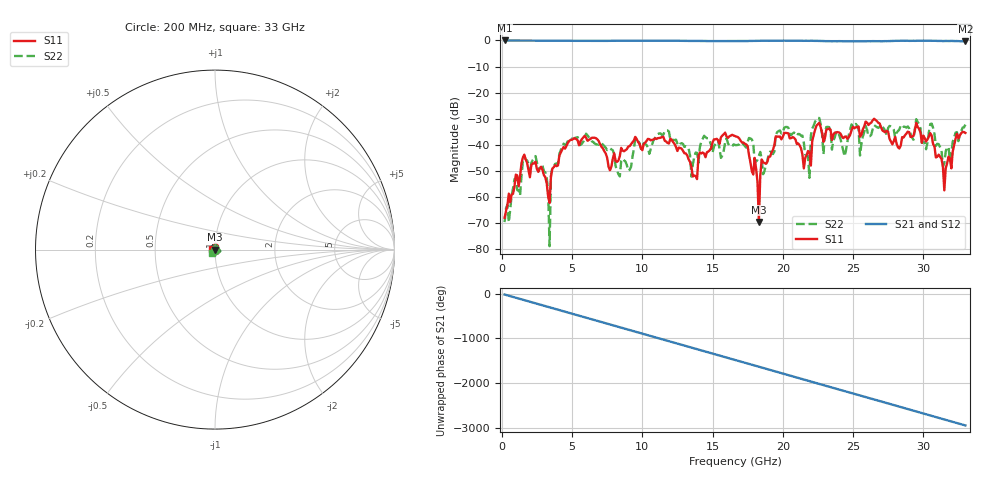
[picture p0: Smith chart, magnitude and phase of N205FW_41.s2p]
# GHZ S RI R 50
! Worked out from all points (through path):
!   329 points, 200 MHz to 33 GHz, reference 50 ohm
!   highest |S21| = -0.01 dB at 200 MHz (marker M1); lowest = -0.4 dB at 33 GHz (marker M2)
!   group delay of S21, straight-line fit = 248 ps
!   lowest |S11| = -69.5 dB at 18.3 GHz (marker M3), VSWR 1.00, Z = 50 - j0.00629 ohm
!   |S11| at or under -10 dB: start of sweep to end of sweep
!   |S22| runs from -78.8 to -29.7 dB; largest |S21 - S12| = 0.0022
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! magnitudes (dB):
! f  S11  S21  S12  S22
! 200 MHz  -68.0  0.0  0.0  -69.6
! 2.4 GHz  -46.5  0.0  0.0  -44.3
! 3.2 GHz  -54.8  -0.1  -0.1  -52.7
! 3.4 GHz  -62.3  -0.1  -0.1  -78.8
! 3.5 GHz  -52.1  -0.1  -0.1  -51.9
! 3.6 GHz  -49.1  -0.1  -0.1  -48.7
! 5.7 GHz  -37.8  -0.2  -0.2  -39.5
! 8.4 GHz  -44.3  -0.1  -0.1  -52.1
! 11.2 GHz  -37.4  -0.1  -0.1  -35.6
! 13.9 GHz  -53.1  -0.2  -0.2  -43.1
! 16.6 GHz  -36.6  -0.2  -0.3  -40.1
! 18 GHz  -45.0  -0.2  -0.2  -46.6
! 18.3 GHz  -69.5  -0.2  -0.2  -44.3
! 18.5 GHz  -45.6  -0.1  -0.1  -45.4
! 19.5 GHz  -36.7  -0.1  -0.1  -36.3
! 21.4 GHz  -43.8  -0.2  -0.2  -36.5
! 21.9 GHz  -43.0  -0.2  -0.2  -52.7
! 22.1 GHz  -38.4  -0.1  -0.1  -33.8
! 27.6 GHz  -37.7  -0.2  -0.2  -32.7
! 30.5 GHz  -35.5  -0.1  -0.1  -32.0
! 31.5 GHz  -57.4  -0.2  -0.2  -47.1
! 33 GHz  -35.4  -0.4  -0.4  -32.2
